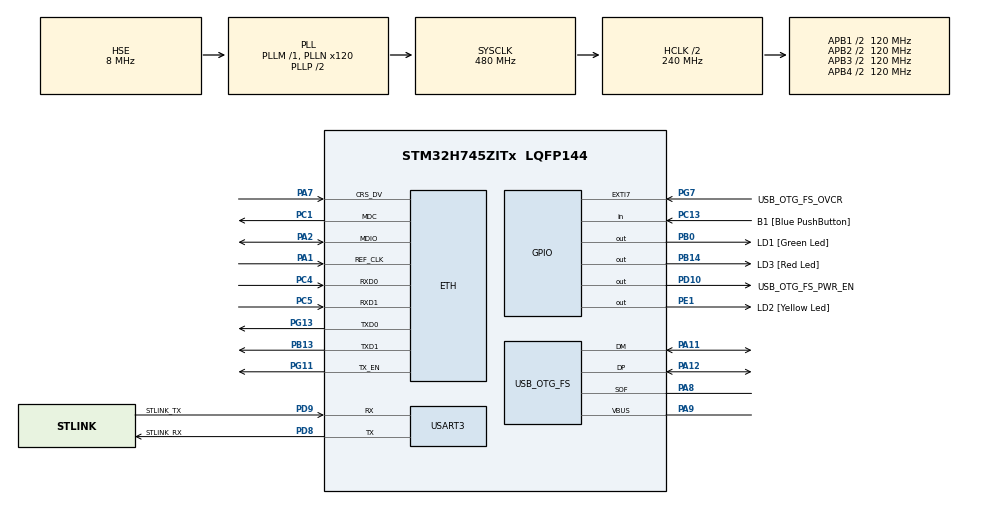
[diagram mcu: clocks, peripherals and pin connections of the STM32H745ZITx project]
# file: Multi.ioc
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CortexM4.IPs=FATFS_M4\:I,FREERTOS_M4\:I,IWDG2\:I,RCC,WWDG2\:I,DMA,BDMA,MDMA,NVIC2\:I,USART3,ETH,DEBUG,USB_DEVICE_M4\:I,USB_HOST_M4\:I,PDM2PCM_M4\:I,PWR,RESMGR_UTILITY,SYS_M4\:I,CORTEX_M4\:I,OPENAMP_M4\:I,VREFBUF,GPIO
CortexM4.Pins=PB14
CortexM7.IPs=FATFS_M7\:I,FREERTOS_M7\:I,IWDG1\:I,RCC\:I,WWDG1\:I,DMA\:I,BDMA\:I,MDMA\:I,NVIC1\:I,SYS\:I,USART3\:I,USB_OTG_FS\:I,ETH\:I,CORTEX_M7\:I,DEBUG\:I,USB_DEVICE_M7\:I,USB_HOST_M7\:I,PDM2PCM_M7\:I,PWR\:I,RESMGR_UTILITY\:I,OPENAMP_M7\:I,VREFBUF\:I,GPIO\:I
CortexM7.Pins=PB0
ETH.MediaInterface=HAL_ETH_RMII_MODE
Mcu.Family=STM32H7
Mcu.Name=STM32H745ZITx
Mcu.Package=LQFP144
NVIC1.PriorityGroup=NVIC_PRIORITYGROUP_4
NVIC2.HSEM2_IRQn=true\:0\:0\:false\:false\:true\:true\:true\:true
NVIC2.PriorityGroup=NVIC_PRIORITYGROUP_4
PA1.Mode=RMII
PA1.PinAttribute=CortexM7
PA1.Signal=ETH_REF_CLK
PA11.Mode=Device_Only
PA11.PinAttribute=CortexM7
PA11.Signal=USB_OTG_FS_DM
PA12.Mode=Device_Only
PA12.PinAttribute=CortexM7
PA12.Signal=USB_OTG_FS_DP
PA2.Mode=RMII
PA2.PinAttribute=CortexM7
PA2.Signal=ETH_MDIO
PA7.Mode=RMII
PA7.PinAttribute=CortexM7
PA7.Signal=ETH_CRS_DV
PA8.Mode=Activate_SOF_FS
PA8.PinAttribute=CortexM7
PA8.Signal=USB_OTG_FS_SOF
PA9.Mode=Activate_VBUS
PA9.PinAttribute=CortexM7
PA9.Signal=USB_OTG_FS_VBUS
PB0.GPIO_Label=LD1 [Green Led]
PB0.GPIO_PuPd=GPIO_PULLUP
PB0.GPIO_Speed=GPIO_SPEED_FREQ_HIGH
PB0.PinAttribute=CortexM7
PB0.Signal=GPIO_Output
PB13.Mode=RMII
PB13.PinAttribute=CortexM7
PB13.Signal=ETH_TXD1
PB14.GPIO_Label=LD3 [Red Led]
PB14.GPIO_PuPd=GPIO_PULLUP
PB14.GPIO_Speed=GPIO_SPEED_FREQ_HIGH
PB14.PinAttribute=CortexM4
PB14.Signal=GPIO_Output
PC1.Mode=RMII
PC1.PinAttribute=CortexM7
PC1.Signal=ETH_MDC
PC13.GPIO_Label=B1 [Blue PushButton]
PC13.PinAttribute=Free
PC13.Signal=GPIO_Input
PC14-OSC32_IN\ (OSC32_IN).Mode=LSE-External-Oscillator
PC14-OSC32_IN\ (OSC32_IN).PinAttribute=CortexM7
PC14-OSC32_IN\ (OSC32_IN).Signal=RCC_OSC32_IN
PC15-OSC32_OUT\ (OSC32_OUT).Mode=LSE-External-Oscillator
PC15-OSC32_OUT\ (OSC32_OUT).PinAttribute=CortexM7
PC15-OSC32_OUT\ (OSC32_OUT).Signal=RCC_OSC32_OUT
PC4.Mode=RMII
PC4.PinAttribute=CortexM7
PC4.Signal=ETH_RXD0
PC5.Mode=RMII
PC5.PinAttribute=CortexM7
PC5.Signal=ETH_RXD1
PD10.GPIO_Label=USB_OTG_FS_PWR_EN
PD10.PinAttribute=Free
PD10.Signal=GPIO_Output
PD8.GPIO_Label=STLINK_RX
PD8.Mode=Asynchronous
PD8.PinAttribute=CortexM7
PD8.Signal=USART3_TX
PD9.GPIO_Label=STLINK_TX
PD9.Mode=Asynchronous
PD9.PinAttribute=CortexM7
PD9.Signal=USART3_RX
PE1.GPIO_Label=LD2 [Yellow Led]
PE1.PinAttribute=Free
PE1.Signal=GPIO_Output
PG11.Mode=RMII
PG11.PinAttribute=CortexM7
PG11.Signal=ETH_TX_EN
PG13.Mode=RMII
PG13.PinAttribute=CortexM7
PG13.Signal=ETH_TXD0
PG7.GPIO_Label=USB_OTG_FS_OVCR
PG7.PinAttribute=Free
PG7.Signal=GPXTI7
PH0-OSC_IN\ (PH0).Mode=HSE-External-Clock-Source
PH0-OSC_IN\ (PH0).PinAttribute=CortexM7
PH0-OSC_IN\ (PH0).Signal=RCC_OSC_IN
PH1-OSC_OUT\ (PH1).PinAttribute=CortexM7
PH1-OSC_OUT\ (PH1).Signal=RCC_OSC_OUT
ProjectManager.HeapSize=M4-0x200,M7-0x200
ProjectManager.StackSize=M4-0x400,M7-0x400
ProjectManager.TargetToolchain=STM32CubeIDE
RCC.ADCFreq_Value=16125000
RCC.APB1Freq_Value=120000000
RCC.APB2Freq_Value=120000000
RCC.APB3Freq_Value=120000000
RCC.APB4Freq_Value=120000000
RCC.CortexFreq_Value=480000000
RCC.D1PPRE=RCC_APB3_DIV2
RCC.D2PPRE1=RCC_APB1_DIV2
RCC.D2PPRE2=RCC_APB2_DIV2
RCC.D3PPRE=RCC_APB4_DIV2
RCC.DIVM1=1
RCC.DIVM3=1
RCC.DIVN1=120
RCC.DIVN3=24
RCC.DIVQ3=4
RCC.HCLKFreq_Value=240000000
RCC.HPRE=RCC_HCLK_DIV2
RCC.HSE_VALUE=8000000
RCC.PLL2FRACN=0
RCC.PLL3FRACN=0
RCC.PLLFRACN=0
RCC.SYSCLKFreq_VALUE=480000000
RCC.SYSCLKSource=RCC_SYSCLKSOURCE_PLLCLK
RCC.SupplySource=PWR_DIRECT_SMPS_SUPPLY
RCC.USBCLockSelection=RCC_USBCLKSOURCE_PLL3
RCC.USBFreq_Value=48000000
USART3.VirtualMode-Asynchronous=VM_ASYNC
USB_OTG_FS.VirtualMode=Device_Only
VP_SYS_M4_VS_Systick.Mode=SysTick
board=NUCLEO-H745ZI-Q

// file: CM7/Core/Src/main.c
/* USER CODE BEGIN Header */
/**
  ******************************************************************************
  * @file           : main.c
  * @brief          : Main program body
  ******************************************************************************
  * @attention
  *
  * Copyright (c) 2022 STMicroelectronics.
  * All rights reserved.
  *
  * This software is licensed under terms that can be found in the LICENSE file
  * in the root directory of this software component.
  * If no LICENSE file comes with this software, it is provided AS-IS.
  *
  ******************************************************************************
  */
/* USER CODE END Header */
#include "main.h"
#include "string.h"

/* USER CODE BEGIN PD */

#ifndef HSEM_ID_0
#define HSEM_ID_0 (0U) /* HW semaphore 0*/
#endif
/* USER CODE END PD */

#if defined ( __ICCARM__ ) /*!< IAR Compiler */
#pragma location=0x30000000
ETH_DMADescTypeDef  DMARxDscrTab[ETH_RX_DESC_CNT]; /* Ethernet Rx DMA Descriptors */
#pragma location=0x30000200
ETH_DMADescTypeDef  DMATxDscrTab[ETH_TX_DESC_CNT]; /* Ethernet Tx DMA Descriptors */

#elif defined ( __CC_ARM )  /* MDK ARM Compiler */

__attribute__((at(0x30000000))) ETH_DMADescTypeDef  DMARxDscrTab[ETH_RX_DESC_CNT]; /* Ethernet Rx DMA Descriptors */
__attribute__((at(0x30000200))) ETH_DMADescTypeDef  DMATxDscrTab[ETH_TX_DESC_CNT]; /* Ethernet Tx DMA Descriptors */

#elif defined ( __GNUC__ ) /* GNU Compiler */
ETH_DMADescTypeDef DMARxDscrTab[ETH_RX_DESC_CNT] __attribute__((section(".RxDecripSection"))); /* Ethernet Rx DMA Descriptors */
ETH_DMADescTypeDef DMATxDscrTab[ETH_TX_DESC_CNT] __attribute__((section(".TxDecripSection")));   /* Ethernet Tx DMA Descriptors */

#endif

ETH_TxPacketConfig TxConfig;

ETH_HandleTypeDef heth;

UART_HandleTypeDef huart3;

PCD_HandleTypeDef hpcd_USB_OTG_FS;

/* USER CODE BEGIN PV */
// Variables UART
char uart_buf[50];
uint16_t uart_buf_len;

struct shared_data{
	uint8_t size;
	uint8_t M4toM7[64];
};
volatile struct shared_data * const xfr_ptr = (struct shared_data *)0x38001000;
/* USER CODE END PV */

void SystemClock_Config(void);
static void MX_GPIO_Init(void);
static void MX_ETH_Init(void);
static void MX_USART3_UART_Init(void);
static void MX_USB_OTG_FS_PCD_Init(void);
/* USER CODE BEGIN PFP */
static void print_int(char *string, uint8_t *arr, uint8_t size);
/* USER CODE END PFP */

int main(void)
{
/* USER CODE BEGIN Boot_Mode_Sequence_0 */
  int32_t timeout;
/* USER CODE END Boot_Mode_Sequence_0 */

/* USER CODE BEGIN Boot_Mode_Sequence_1 */
  /* Wait until CPU2 boots and enters in stop mode or timeout*/
  timeout = 0xFFFF;
  while((__HAL_RCC_GET_FLAG(RCC_FLAG_D2CKRDY) != RESET) && (timeout-- > 0));
  if ( timeout < 0 )
  {
  Error_Handler();
  }
/* USER CODE END Boot_Mode_Sequence_1 */
  /* MCU Configuration--------------------------------------------------------*/

  /* Reset of all peripherals, Initializes the Flash interface and the Systick. */
  HAL_Init();

  /* Configure the system clock */
  SystemClock_Config();
/* USER CODE BEGIN Boot_Mode_Sequence_2 */
/* When system initialization is finished, Cortex-M7 will release Cortex-M4 by means of
HSEM notification */
/*HW semaphore Clock enable*/
__HAL_RCC_HSEM_CLK_ENABLE();
/*Take HSEM */
HAL_HSEM_FastTake(HSEM_ID_0);
/*Release HSEM in order to notify the CPU2(CM4)*/
HAL_HSEM_Release(HSEM_ID_0,0);
/* wait until CPU2 wakes up from stop mode */
timeout = 0xFFFF;
while((__HAL_RCC_GET_FLAG(RCC_FLAG_D2CKRDY) == RESET) && (timeout-- > 0));
if ( timeout < 0 )
{
Error_Handler();
}
/* USER CODE END Boot_Mode_Sequence_2 */

  /* Initialize all configured peripherals */
  MX_GPIO_Init();
  MX_ETH_Init();
  MX_USART3_UART_Init();
  MX_USB_OTG_FS_PCD_Init();
  /* USER CODE BEGIN 2 */
  struct shared_data *sdptr, sd;
  /* USER CODE END 2 */

  /* Infinite loop */
  while (1)
  {

    /* USER CODE BEGIN 3 */
	  HAL_HSEM_FastTake(HSEM_ID_0);

	  for(int i = 0; i < 5; i++){
		  HAL_GPIO_TogglePin(GPIOB, GPIO_PIN_0);
		  print_int("Data %u\r\n", xfr_ptr ->M4toM7, 64);
		  HAL_Delay(200);
	  }

	  HAL_HSEM_Release(HSEM_ID_0,0);
  }
  /* USER CODE END 3 */
}

void SystemClock_Config(void)
{
  RCC_OscInitTypeDef RCC_OscInitStruct = {0};
  RCC_ClkInitTypeDef RCC_ClkInitStruct = {0};

  /** Supply configuration update enable
  */
  HAL_PWREx_ConfigSupply(PWR_DIRECT_SMPS_SUPPLY);

  /** Configure the main internal regulator output voltage
  */
  __HAL_PWR_VOLTAGESCALING_CONFIG(PWR_REGULATOR_VOLTAGE_SCALE0);

  while(!__HAL_PWR_GET_FLAG(PWR_FLAG_VOSRDY)) {}

  /** Macro to configure the PLL clock source
  */
  __HAL_RCC_PLL_PLLSOURCE_CONFIG(RCC_PLLSOURCE_HSE);

  /** Initializes the RCC Oscillators according to the specified parameters
  * in the RCC_OscInitTypeDef structure.
  */
  RCC_OscInitStruct.OscillatorType = RCC_OSCILLATORTYPE_HSE;
  RCC_OscInitStruct.HSEState = RCC_HSE_BYPASS;
  RCC_OscInitStruct.PLL.PLLState = RCC_PLL_ON;
  RCC_OscInitStruct.PLL.PLLSource = RCC_PLLSOURCE_HSE;
  RCC_OscInitStruct.PLL.PLLM = 1;
  RCC_OscInitStruct.PLL.PLLN = 120;
  RCC_OscInitStruct.PLL.PLLP = 2;
  RCC_OscInitStruct.PLL.PLLQ = 2;
  RCC_OscInitStruct.PLL.PLLR = 2;
  RCC_OscInitStruct.PLL.PLLRGE = RCC_PLL1VCIRANGE_3;
  RCC_OscInitStruct.PLL.PLLVCOSEL = RCC_PLL1VCOWIDE;
  RCC_OscInitStruct.PLL.PLLFRACN = 0;
  if (HAL_RCC_OscConfig(&RCC_OscInitStruct) != HAL_OK)
  {
    Error_Handler();
  }

  /** Initializes the CPU, AHB and APB buses clocks
  */
  RCC_ClkInitStruct.ClockType = RCC_CLOCKTYPE_HCLK|RCC_CLOCKTYPE_SYSCLK
                              |RCC_CLOCKTYPE_PCLK1|RCC_CLOCKTYPE_PCLK2
                              |RCC_CLOCKTYPE_D3PCLK1|RCC_CLOCKTYPE_D1PCLK1;
  RCC_ClkInitStruct.SYSCLKSource = RCC_SYSCLKSOURCE_PLLCLK;
  RCC_ClkInitStruct.SYSCLKDivider = RCC_SYSCLK_DIV1;
  RCC_ClkInitStruct.AHBCLKDivider = RCC_HCLK_DIV2;
  RCC_ClkInitStruct.APB3CLKDivider = RCC_APB3_DIV2;
  RCC_ClkInitStruct.APB1CLKDivider = RCC_APB1_DIV2;
  RCC_ClkInitStruct.APB2CLKDivider = RCC_APB2_DIV2;
  RCC_ClkInitStruct.APB4CLKDivider = RCC_APB4_DIV2;

  if (HAL_RCC_ClockConfig(&RCC_ClkInitStruct, FLASH_LATENCY_4) != HAL_OK)
  {
    Error_Handler();
  }
}

static void MX_ETH_Init(void)
{

   static uint8_t MACAddr[6];

  heth.Instance = ETH;
  MACAddr[0] = 0x00;
  MACAddr[1] = 0x80;
  MACAddr[2] = 0xE1;
  MACAddr[3] = 0x00;
  MACAddr[4] = 0x00;
  MACAddr[5] = 0x00;
  heth.Init.MACAddr = &MACAddr[0];
  heth.Init.MediaInterface = HAL_ETH_RMII_MODE;
  heth.Init.TxDesc = DMATxDscrTab;
  heth.Init.RxDesc = DMARxDscrTab;
  heth.Init.RxBuffLen = 1524;

  if (HAL_ETH_Init(&heth) != HAL_OK)
  {
    Error_Handler();
  }

  memset(&TxConfig, 0 , sizeof(ETH_TxPacketConfig));
  TxConfig.Attributes = ETH_TX_PACKETS_FEATURES_CSUM | ETH_TX_PACKETS_FEATURES_CRCPAD;
  TxConfig.ChecksumCtrl = ETH_CHECKSUM_IPHDR_PAYLOAD_INSERT_PHDR_CALC;
  TxConfig.CRCPadCtrl = ETH_CRC_PAD_INSERT;

}

static void MX_USART3_UART_Init(void)
{

  huart3.Instance = USART3;
  huart3.Init.BaudRate = 115200;
  huart3.Init.WordLength = UART_WORDLENGTH_8B;
  huart3.Init.StopBits = UART_STOPBITS_1;
  huart3.Init.Parity = UART_PARITY_NONE;
  huart3.Init.Mode = UART_MODE_TX_RX;
  huart3.Init.HwFlowCtl = UART_HWCONTROL_NONE;
  huart3.Init.OverSampling = UART_OVERSAMPLING_16;
  huart3.Init.OneBitSampling = UART_ONE_BIT_SAMPLE_DISABLE;
  huart3.Init.ClockPrescaler = UART_PRESCALER_DIV1;
  huart3.AdvancedInit.AdvFeatureInit = UART_ADVFEATURE_NO_INIT;
  if (HAL_UART_Init(&huart3) != HAL_OK)
  {
    Error_Handler();
  }
  if (HAL_UARTEx_SetTxFifoThreshold(&huart3, UART_TXFIFO_THRESHOLD_1_8) != HAL_OK)
  {
    Error_Handler();
  }
  if (HAL_UARTEx_SetRxFifoThreshold(&huart3, UART_RXFIFO_THRESHOLD_1_8) != HAL_OK)
  {
    Error_Handler();
  }
  if (HAL_UARTEx_DisableFifoMode(&huart3) != HAL_OK)
  {
    Error_Handler();
  }

}

static void MX_USB_OTG_FS_PCD_Init(void)
{

  hpcd_USB_OTG_FS.Instance = USB_OTG_FS;
  hpcd_USB_OTG_FS.Init.dev_endpoints = 9;
  hpcd_USB_OTG_FS.Init.speed = PCD_SPEED_FULL;
  hpcd_USB_OTG_FS.Init.dma_enable = DISABLE;
  hpcd_USB_OTG_FS.Init.phy_itface = PCD_PHY_EMBEDDED;
  hpcd_USB_OTG_FS.Init.Sof_enable = DISABLE;
  hpcd_USB_OTG_FS.Init.low_power_enable = DISABLE;
  hpcd_USB_OTG_FS.Init.lpm_enable = DISABLE;
  hpcd_USB_OTG_FS.Init.battery_charging_enable = ENABLE;
  hpcd_USB_OTG_FS.Init.vbus_sensing_enable = ENABLE;
  hpcd_USB_OTG_FS.Init.use_dedicated_ep1 = DISABLE;
  if (HAL_PCD_Init(&hpcd_USB_OTG_FS) != HAL_OK)
  {
    Error_Handler();
  }

}

static void MX_GPIO_Init(void)
{
  GPIO_InitTypeDef GPIO_InitStruct = {0};

  /* GPIO Ports Clock Enable */
  __HAL_RCC_GPIOC_CLK_ENABLE();
  __HAL_RCC_GPIOH_CLK_ENABLE();
  __HAL_RCC_GPIOA_CLK_ENABLE();
  __HAL_RCC_GPIOB_CLK_ENABLE();
  __HAL_RCC_GPIOD_CLK_ENABLE();
  __HAL_RCC_GPIOG_CLK_ENABLE();

  /*Configure GPIO pin Output Level */
  HAL_GPIO_WritePin(LD1_GPIO_Port, LD1_Pin, GPIO_PIN_RESET);

  /*Configure GPIO pin : LD1_Pin */
  GPIO_InitStruct.Pin = LD1_Pin;
  GPIO_InitStruct.Mode = GPIO_MODE_OUTPUT_PP;
  GPIO_InitStruct.Pull = GPIO_PULLUP;
  GPIO_InitStruct.Speed = GPIO_SPEED_FREQ_HIGH;
  HAL_GPIO_Init(LD1_GPIO_Port, &GPIO_InitStruct);

}

/* USER CODE BEGIN 4 */
static void print_int(char *string, uint8_t *arr, uint8_t size){
	for(int i = 0; i < size; i++){
		uart_buf_len = sprintf(uart_buf, string, arr[i]);
		HAL_UART_Transmit(&huart3, (uint8_t *)uart_buf, uart_buf_len, 100);
	}
}
/* USER CODE END 4 */

void Error_Handler(void)
{
  __disable_irq();
  while (1)
  {
  }
}
